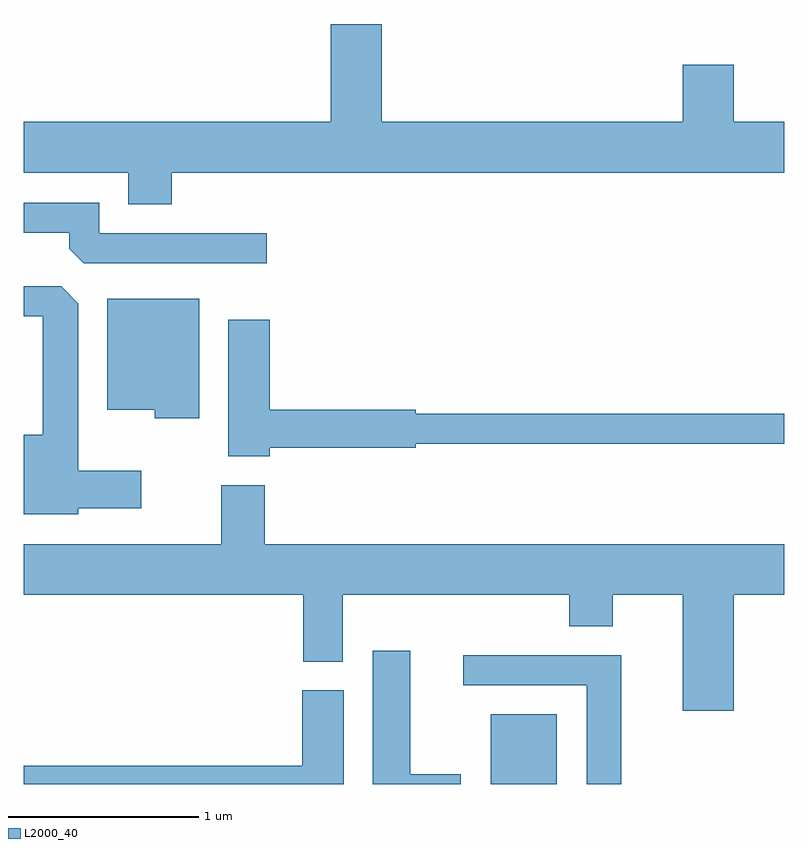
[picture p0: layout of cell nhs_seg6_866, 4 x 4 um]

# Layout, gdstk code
import gdstk
lib = gdstk.Library(unit=1e-6, precision=1e-09)
def R(c, l, rs):  # rectangles x0, y0, x1, y1
    for r in rs: c.add(gdstk.rectangle(r[:2], r[2:], *l))
def P(c, l, *ps):  # polygons
    for p in ps: c.add(gdstk.Polygon(p, *l))
L2000_40 = (2000, 40)

nhs_seg6_866 = lib.new_cell('nhs_seg6_866')
R(nhs_seg6_866, L2000_40, [(214.066,1540.162,214.414,1540.529)])
P(nhs_seg6_866, L2000_40, [(212.389,1543.376),(215.611,1543.376),(215.611,1543.644),(215.344,1543.644),(215.344,1543.944),(215.076,1543.944),(215.076,1543.644),(213.494,1543.644),(213.494,1544.159),(213.226,1544.159),(213.226,1543.644),(211.611,1543.644),(211.611,1543.376),(212.161,1543.376),(212.161,1543.211),(212.389,1543.211)],
  [(212.888,1543.059),(212.009,1543.059),(212.009,1543.219),(211.611,1543.219),(211.611,1543.061),(211.851,1543.061),(211.851,1542.977),(211.927,1542.901),(212.888,1542.901)],
  [(211.899,1541.611),(212.229,1541.611),(212.229,1541.809),(211.899,1541.809),(211.899,1542.689),(211.809,1542.779),(211.611,1542.779),(211.611,1542.621),(211.711,1542.621),(211.711,1541.999),(211.611,1541.999),(211.611,1541.581),(211.899,1541.581)],
  [(212.534,1542.714),(212.051,1542.714),(212.051,1542.131),(212.301,1542.131),(212.301,1542.086),(212.534,1542.086)],
  [(212.904,1541.931),(213.674,1541.931),(213.674,1541.951),(215.611,1541.951),(215.611,1542.109),(213.674,1542.109),(213.674,1542.129),(212.904,1542.129),(212.904,1542.604),(212.686,1542.604),(212.686,1541.886),(212.904,1541.886)],
  [(215.344,1541.156),(215.611,1541.156),(215.611,1541.424),(212.879,1541.424),(212.879,1541.734),(212.651,1541.734),(212.651,1541.424),(211.611,1541.424),(211.611,1541.156),(213.081,1541.156),(213.081,1540.806),(213.289,1540.806),(213.289,1541.156),(214.481,1541.156),(214.481,1540.991),(214.709,1540.991),(214.709,1541.156),(215.076,1541.156),(215.076,1540.546),(215.344,1540.546)],
  [(213.909,1540.214),(213.644,1540.214),(213.644,1540.864),(213.446,1540.864),(213.446,1540.162),(213.909,1540.162)],
  [(214.754,1540.839),(213.923,1540.839),(213.923,1540.681),(214.571,1540.681),(214.571,1540.162),(214.754,1540.162)],
  [(213.294,1540.654),(213.076,1540.654),(213.076,1540.259),(211.611,1540.259),(211.611,1540.162),(213.294,1540.162)])

lib.write_gds('nhs_seg6_866.gds')
